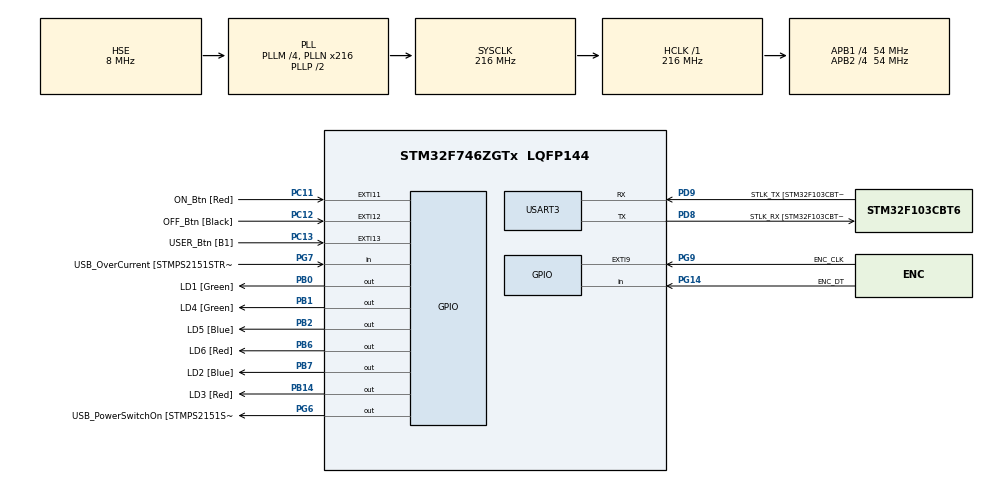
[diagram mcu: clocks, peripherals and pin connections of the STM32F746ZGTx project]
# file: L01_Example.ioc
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Mcu.Family=STM32F7
Mcu.Name=STM32F746ZGTx
Mcu.Package=LQFP144
NVIC.EXTI15_10_IRQn=true\:0\:0\:false\:false\:true\:true\:true\:true
NVIC.EXTI9_5_IRQn=true\:0\:0\:false\:false\:true\:true\:true\:true
NVIC.PriorityGroup=NVIC_PRIORITYGROUP_4
PA1.GPIO_Label=RMII_REF_CLK [LAN8742A-CZ-TR_REFCLK0]
PA1.Signal=ETH_REF_CLK
PA10.GPIO_Label=USB_ID
PA10.Signal=USB_OTG_FS_ID
PA11.GPIO_Label=USB_DM
PA11.Signal=USB_OTG_FS_DM
PA12.GPIO_Label=USB_DP
PA12.Signal=USB_OTG_FS_DP
PA13.GPIO_Label=TMS
PA13.Mode=Serial_Wire
PA13.Signal=SYS_JTMS-SWDIO
PA14.GPIO_Label=TCK
PA14.Mode=Serial_Wire
PA14.Signal=SYS_JTCK-SWCLK
PA2.GPIO_Label=RMII_MDIO [LAN8742A-CZ-TR_MDIO]
PA2.Signal=ETH_MDIO
PA7.GPIO_Label=RMII_CRS_DV [LAN8742A-CZ-TR_CRS_DV]
PA7.Signal=ETH_CRS_DV
PA8.GPIO_Label=USB_SOF [TP1]
PA8.Signal=USB_OTG_FS_SOF
PA9.GPIO_Label=USB_VBUS
PA9.Signal=USB_OTG_FS_VBUS
PB0.GPIO_Label=LD1 [Green]
PB0.Signal=GPIO_Output
PB1.GPIO_Label=LD4 [Green]
PB1.Signal=GPIO_Output
PB13.GPIO_Label=RMII_TXD1 [LAN8742A-CZ-TR_TXD1]
PB13.Signal=ETH_TXD1
PB14.GPIO_Label=LD3 [Red]
PB14.Signal=GPIO_Output
PB2.GPIO_Label=LD5 [Blue]
PB2.Signal=GPIO_Output
PB3.GPIO_Label=SW0
PB3.Signal=SYS_JTDO-SWO
PB6.GPIO_Label=LD6 [Red]
PB6.Signal=GPIO_Output
PB7.GPIO_Label=LD2 [Blue]
PB7.Signal=GPIO_Output
PC1.GPIO_Label=RMII_MDC [LAN8742A-CZ-TR_MDC]
PC1.Signal=ETH_MDC
PC11.GPIO_Label=ON_Btn [Red]
PC11.GPIO_ModeDefaultEXTI=GPIO_MODE_IT_FALLING
PC11.GPIO_PuPd=GPIO_PULLUP
PC11.Signal=GPXTI11
PC12.GPIO_Label=OFF_Btn [Black]
PC12.GPIO_ModeDefaultEXTI=GPIO_MODE_IT_RISING
PC12.GPIO_PuPd=GPIO_PULLDOWN
PC12.Signal=GPXTI12
PC13.GPIO_Label=USER_Btn [B1]
PC13.Signal=GPXTI13
PC14/OSC32_IN.Mode=LSE-External-Oscillator
PC14/OSC32_IN.Signal=RCC_OSC32_IN
PC15/OSC32_OUT.Mode=LSE-External-Oscillator
PC15/OSC32_OUT.Signal=RCC_OSC32_OUT
PC4.GPIO_Label=RMII_RXD0 [LAN8742A-CZ-TR_RXD0]
PC4.Signal=ETH_RXD0
PC5.GPIO_Label=RMII_RXD1 [LAN8742A-CZ-TR_RXD1]
PC5.Signal=ETH_RXD1
PD8.GPIO_Label=STLK_RX [STM32F103CBT6_PA3]
PD8.GPIO_PuPd=GPIO_PULLUP
PD8.Mode=Asynchronous
PD8.Signal=USART3_TX
PD9.GPIO_Label=STLK_TX [STM32F103CBT6_PA2]
PD9.GPIO_PuPd=GPIO_PULLUP
PD9.Mode=Asynchronous
PD9.Signal=USART3_RX
PG11.GPIO_Label=RMII_TX_EN [LAN8742A-CZ-TR_TXEN]
PG11.Signal=ETH_TX_EN
PG13.GPIO_Label=RMII_TXD0 [LAN8742A-CZ-TR_TXD0]
PG13.Signal=ETH_TXD0
PG14.GPIO_Label=ENC_DT
PG14.Signal=GPIO_Input
PG6.GPIO_Label=USB_PowerSwitchOn [STMPS2151STR_EN]
PG6.Signal=GPIO_Output
PG7.GPIO_Label=USB_OverCurrent [STMPS2151STR_FAULT]
PG7.Signal=GPIO_Input
PG9.GPIO_Label=ENC_CLK
PG9.GPIO_ModeDefaultEXTI=GPIO_MODE_IT_FALLING
PG9.Signal=GPXTI9
PH0/OSC_IN.GPIO_Label=MCO [STM32F103CBT6_PA8]
PH0/OSC_IN.Mode=HSE-External-Clock-Source
PH0/OSC_IN.Signal=RCC_OSC_IN
PH1/OSC_OUT.Mode=HSE-External-Clock-Source
PH1/OSC_OUT.Signal=RCC_OSC_OUT
ProjectManager.HeapSize=0x200
ProjectManager.StackSize=0x400
ProjectManager.TargetToolchain=STM32CubeIDE
RCC.48MHZClocksFreq_Value=24000000
RCC.AHBFreq_Value=216000000
RCC.APB1CLKDivider=RCC_HCLK_DIV4
RCC.APB1Freq_Value=54000000
RCC.APB1TimFreq_Value=108000000
RCC.APB2CLKDivider=RCC_HCLK_DIV4
RCC.APB2Freq_Value=54000000
RCC.APB2TimFreq_Value=108000000
RCC.CortexFreq_Value=216000000
RCC.HCLKFreq_Value=216000000
RCC.HSE_VALUE=8000000
RCC.HSI_VALUE=16000000
RCC.PLLM=4
RCC.PLLMUL=RCC_PLL_MUL9
RCC.PLLN=216
RCC.PLLQ=3
RCC.PLLSourceVirtual=RCC_PLLSOURCE_HSE
RCC.PRESCALERUSB=RCC_USBCLKSOURCE_PLL_DIV1_5
RCC.SYSCLKFreq_VALUE=216000000
RCC.SYSCLKSource=RCC_SYSCLKSOURCE_PLLCLK
RCC.SYSCLKSourceVirtual=RCC_SYSCLKSOURCE_PLLCLK
RCC.USBFreq_Value=144000000
RCC.VCOOutputFreq_Value=432000000
USART3.VirtualMode-Asynchronous=VM_ASYNC
board=NUCLEO-F746ZG

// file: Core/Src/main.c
/* USER CODE BEGIN Header */
/**
  ******************************************************************************
  * @file           : main.c
  * @brief          : Main program body
  ******************************************************************************
  * @attention
  *
  * Copyright (c) 2024 STMicroelectronics.
  * All rights reserved.
  *
  * This software is licensed under terms that can be found in the LICENSE file
  * in the root directory of this software component.
  * If no LICENSE file comes with this software, it is provided AS-IS.
  *
  ******************************************************************************
  */
#define TASK 6
/* USER CODE END Header */
#include "main.h"
#include "usart.h"
#include "gpio.h"

/* USER CODE BEGIN PTD */
#if TASK == 5
typedef struct {
  _Bool EdgeDetected;
  _Bool PullUp;
  GPIO_TypeDef *Port;
  uint16_t Pin;
} Button_TypeDef;
#endif // TASK #5
/* USER CODE END PTD */

/* USER CODE BEGIN PD */
#if TASK == 1
#define LD_N 3
#endif // TASK #2
/* USER CODE END PD */

/* USER CODE BEGIN PM */
#if TASK == 5
#define BTN_EdgeDetected(hbtn)  ((HAL_GPIO_ReadPin((hbtn)->Port, (hbtn)->Pin)) == (hbtn)->PullUp)
#endif // TASK #5
/* USER CODE END PM */

/* USER CODE BEGIN PV */
#if TASK == 1
GPIO_PinState LD_State[LD_N] = { GPIO_PIN_RESET, };
uint8_t LD_Cnt = 0;
const uint16_t LD_Pins[LD_N] = {
    LD1_Pin,
    LD2_Pin,
    LD3_Pin
};
GPIO_TypeDef* LD_GPIO_Port = GPIOB;
#endif // TASK #1
#if TASK == 2
GPIO_PinState USER_Btn_State = GPIO_PIN_RESET;
GPIO_PinState USER_Btn_StatePrev = GPIO_PIN_RESET;
GPIO_PinState LD1_State = GPIO_PIN_RESET;
#endif // TASK #2
#if TASK == 3
volatile _Bool USER_Btn_RisingEdgeDetected = 0;
GPIO_PinState LD1_State = GPIO_PIN_RESET;
#endif // TASK #3
#if TASK == 4
volatile _Bool ON_Btn_FallingEdgeDetected = 0;
GPIO_PinState LD4_State = GPIO_PIN_RESET;
#endif // TASK #4
#if TASK == 5
Button_TypeDef ON_Btn  = { 0, 0, ON_Btn_GPIO_Port,  ON_Btn_Pin  };
Button_TypeDef OFF_Btn = { 0, 1, OFF_Btn_GPIO_Port, OFF_Btn_Pin };
GPIO_PinState LD4_State = GPIO_PIN_RESET;
#endif // TASK #5
#if TASK == 6
volatile _Bool ENC_CLK_EdgeDetected = 0;
int ENC_Cnt = 100;
#endif // TASK #6
/* USER CODE END PV */

void SystemClock_Config(void);

/* USER CODE BEGIN 0 */
#if TASK == 3
/**
  * @brief  EXTI line detection callbacks.
  * @param  GPIO_Pin Specifies the pins connected EXTI line
  * @retval None
  */
void HAL_GPIO_EXTI_Callback(uint16_t GPIO_Pin)
{
  if(GPIO_Pin == USER_Btn_Pin)
    USER_Btn_RisingEdgeDetected = 1;
}
#endif // TASK #3
#if TASK == 4
/**
  * @brief  EXTI line detection callbacks.
  * @param  GPIO_Pin Specifies the pins connected EXTI line
  * @retval None
  */
void HAL_GPIO_EXTI_Callback(uint16_t GPIO_Pin)
{
  if(GPIO_Pin == ON_Btn_Pin)
    ON_Btn_FallingEdgeDetected = 1;
}
#endif // TASK #4
#if TASK == 5
/**
  * @brief  EXTI line detection callbacks.
  * @param  GPIO_Pin Specifies the pins connected EXTI line
  * @retval None
  */
void HAL_GPIO_EXTI_Callback(uint16_t GPIO_Pin)
{
  if(GPIO_Pin == ON_Btn.Pin)
    ON_Btn.EdgeDetected = 1;
  if(GPIO_Pin == OFF_Btn.Pin)
    OFF_Btn.EdgeDetected = 1;
}
#endif // TASK #5
#if TASK == 6
/**
  * @brief  EXTI line detection callbacks.
  * @param  GPIO_Pin Specifies the pins connected EXTI line
  * @retval None
  */
void HAL_GPIO_EXTI_Callback(uint16_t GPIO_Pin)
{
  if(GPIO_Pin == ENC_CLK_Pin)
    ENC_CLK_EdgeDetected = 1;
}
#endif // TASK #6
/* USER CODE END 0 */

int main(void)
{

  /* MCU Configuration--------------------------------------------------------*/

  /* Reset of all peripherals, Initializes the Flash interface and the Systick. */
  HAL_Init();

  /* Configure the system clock */
  SystemClock_Config();

  /* Initialize all configured peripherals */
  MX_GPIO_Init();
  MX_USART3_UART_Init();

  /* Infinite loop */
  /* USER CODE BEGIN WHILE */
  while (1)
  {
    #if TASK == 1
    LD_Cnt = (LD_Cnt+1) % LD_N;

    for(int i = 0; i < LD_N; i++)
      HAL_GPIO_WritePin(LD_GPIO_Port, LD_Pins[i], GPIO_PIN_RESET);

    HAL_GPIO_WritePin(LD_GPIO_Port, LD_Pins[LD_Cnt], GPIO_PIN_SET);

    for(int i = 0; i < LD_N; i++)
      LD_State[i] = HAL_GPIO_ReadPin(LD_GPIO_Port, LD_Pins[i]);

    HAL_Delay(100);
    #endif // TASK #1
    #if TASK == 2
    USER_Btn_State = HAL_GPIO_ReadPin(USER_Btn_GPIO_Port, USER_Btn_Pin);
    if((USER_Btn_State == GPIO_PIN_SET) && (USER_Btn_StatePrev == GPIO_PIN_RESET))
    {
      HAL_GPIO_TogglePin(LD1_GPIO_Port, LD1_Pin);
      LD1_State = HAL_GPIO_ReadPin(LD1_GPIO_Port, LD1_Pin);
    }
    USER_Btn_StatePrev = USER_Btn_State;
    HAL_Delay(10);
    #endif // TASK #2
    #if TASK == 3
    if(USER_Btn_RisingEdgeDetected)
    {
      HAL_Delay(10);
      USER_Btn_RisingEdgeDetected = 0;
      if(HAL_GPIO_ReadPin(USER_Btn_GPIO_Port, USER_Btn_Pin) == GPIO_PIN_SET)
      {
        HAL_GPIO_TogglePin(LD1_GPIO_Port, LD1_Pin);
        LD1_State = HAL_GPIO_ReadPin(LD1_GPIO_Port, LD1_Pin);
      }
    }
    #endif // TASK #3
    #if TASK == 4
    if(ON_Btn_FallingEdgeDetected)
    {
      HAL_Delay(10);
      ON_Btn_FallingEdgeDetected = 0;
      if(HAL_GPIO_ReadPin(ON_Btn_GPIO_Port, ON_Btn_Pin) == GPIO_PIN_RESET)
      {
        HAL_GPIO_TogglePin(LD4_GPIO_Port, LD4_Pin | LD5_Pin | LD6_Pin);
        LD4_State = HAL_GPIO_ReadPin(LD4_GPIO_Port, LD4_Pin);
      }
    }
    #endif // TASK #4
    #if TASK == 5
    if(ON_Btn.EdgeDetected)
    {
      HAL_Delay(10);
      ON_Btn.EdgeDetected = 0;
      if(BTN_EdgeDetected(&ON_Btn))
      {
        HAL_GPIO_WritePin(LD4_GPIO_Port, LD4_Pin, GPIO_PIN_SET);
        LD4_State = HAL_GPIO_ReadPin(LD4_GPIO_Port, LD4_Pin);
      }
    }
    if(OFF_Btn.EdgeDetected)
    {
      HAL_Delay(10);
      OFF_Btn.EdgeDetected = 0;
      if(BTN_EdgeDetected(&OFF_Btn))
      {
        HAL_GPIO_WritePin(LD4_GPIO_Port, LD4_Pin, GPIO_PIN_RESET);
        LD4_State = HAL_GPIO_ReadPin(LD4_GPIO_Port, LD4_Pin);
      }
    }
    #endif // TASK #5
    #if TASK == 6
    static unsigned int LD_Tim = 0;
    if(ENC_CLK_EdgeDetected)
    {
      GPIO_PinState ENC_DT_State = HAL_GPIO_ReadPin(ENC_DT_GPIO_Port, ENC_DT_Pin);
      LD_Tim = (LD_Tim+5) % ENC_Cnt;
      HAL_Delay(5);
      ENC_CLK_EdgeDetected = 0;
      if(HAL_GPIO_ReadPin(ENC_CLK_GPIO_Port, ENC_CLK_Pin) == GPIO_PIN_RESET)
      {
        if(ENC_DT_State == GPIO_PIN_RESET)
          ENC_Cnt += 10;
        else
          ENC_Cnt -= 10;

        if(ENC_Cnt > 1000)
          ENC_Cnt = 1000;
        if(ENC_Cnt < 100)
          ENC_Cnt = 100;
      }
    }
    LD_Tim = (LD_Tim+1) % ENC_Cnt;
    if(LD_Tim == 0)
      HAL_GPIO_TogglePin(LD5_GPIO_Port, LD5_Pin);
    HAL_Delay(0);
    #endif // TASK #6
    /* USER CODE END WHILE */

  }
}

void SystemClock_Config(void)
{
  RCC_OscInitTypeDef RCC_OscInitStruct = {0};
  RCC_ClkInitTypeDef RCC_ClkInitStruct = {0};

  /** Configure LSE Drive Capability
  */
  HAL_PWR_EnableBkUpAccess();

  /** Configure the main internal regulator output voltage
  */
  __HAL_RCC_PWR_CLK_ENABLE();
  __HAL_PWR_VOLTAGESCALING_CONFIG(PWR_REGULATOR_VOLTAGE_SCALE1);

  /** Initializes the RCC Oscillators according to the specified parameters
  * in the RCC_OscInitTypeDef structure.
  */
  RCC_OscInitStruct.OscillatorType = RCC_OSCILLATORTYPE_HSE;
  RCC_OscInitStruct.HSEState = RCC_HSE_BYPASS;
  RCC_OscInitStruct.PLL.PLLState = RCC_PLL_ON;
  RCC_OscInitStruct.PLL.PLLSource = RCC_PLLSOURCE_HSE;
  RCC_OscInitStruct.PLL.PLLM = 4;
  RCC_OscInitStruct.PLL.PLLN = 216;
  RCC_OscInitStruct.PLL.PLLP = RCC_PLLP_DIV2;
  RCC_OscInitStruct.PLL.PLLQ = 3;
  if (HAL_RCC_OscConfig(&RCC_OscInitStruct) != HAL_OK)
  {
    Error_Handler();
  }

  /** Activate the Over-Drive mode
  */
  if (HAL_PWREx_EnableOverDrive() != HAL_OK)
  {
    Error_Handler();
  }

  /** Initializes the CPU, AHB and APB buses clocks
  */
  RCC_ClkInitStruct.ClockType = RCC_CLOCKTYPE_HCLK|RCC_CLOCKTYPE_SYSCLK
                              |RCC_CLOCKTYPE_PCLK1|RCC_CLOCKTYPE_PCLK2;
  RCC_ClkInitStruct.SYSCLKSource = RCC_SYSCLKSOURCE_PLLCLK;
  RCC_ClkInitStruct.AHBCLKDivider = RCC_SYSCLK_DIV1;
  RCC_ClkInitStruct.APB1CLKDivider = RCC_HCLK_DIV4;
  RCC_ClkInitStruct.APB2CLKDivider = RCC_HCLK_DIV4;

  if (HAL_RCC_ClockConfig(&RCC_ClkInitStruct, FLASH_LATENCY_7) != HAL_OK)
  {
    Error_Handler();
  }
}

void Error_Handler(void)
{
  __disable_irq();
  while (1)
  {
  }
}
